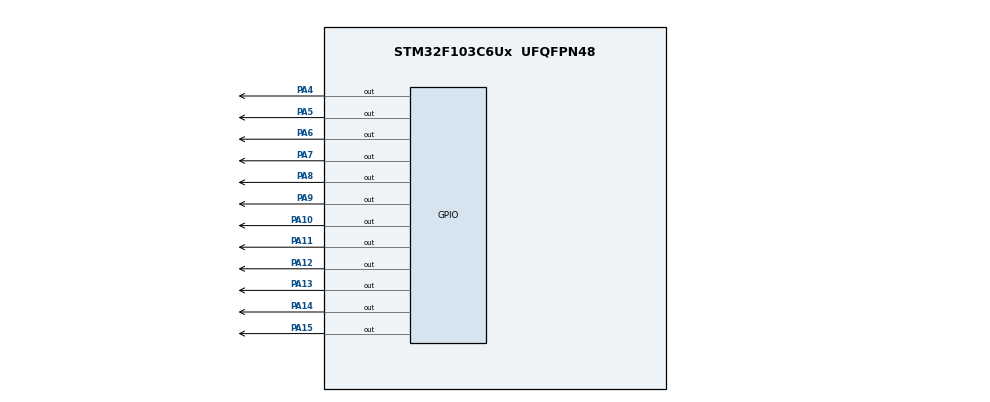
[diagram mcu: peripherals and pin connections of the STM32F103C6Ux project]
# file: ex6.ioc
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Mcu.Family=STM32F1
Mcu.Name=STM32F103C6Ux
Mcu.Package=UFQFPN48
NVIC.PriorityGroup=NVIC_PRIORITYGROUP_4
PA10.Signal=GPIO_Output
PA11.Signal=GPIO_Output
PA12.Signal=GPIO_Output
PA13.Signal=GPIO_Output
PA14.Signal=GPIO_Output
PA15.Signal=GPIO_Output
PA4.Signal=GPIO_Output
PA5.Signal=GPIO_Output
PA6.Signal=GPIO_Output
PA7.Signal=GPIO_Output
PA8.Signal=GPIO_Output
PA9.Signal=GPIO_Output
ProjectManager.HeapSize=0x200
ProjectManager.StackSize=0x400
ProjectManager.TargetToolchain=STM32CubeIDE
RCC.APB1Freq_Value=8000000
RCC.APB2Freq_Value=8000000
VP_SYS_VS_ND.Mode=No_Debug
board=custom

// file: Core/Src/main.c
/* USER CODE BEGIN Header */
/**
  ******************************************************************************
  * @file           : main.c
  * @brief          : Main program body
  ******************************************************************************
  * @attention
  *
  * <h2><center>&copy; Copyright (c) 2022 STMicroelectronics.
  * All rights reserved.</center></h2>
  *
  * This software component is licensed by ST under BSD 3-Clause license,
  * the "License"; You may not use this file except in compliance with the
  * License. You may obtain a copy of the License at:
  *                        opensource.org/licenses/BSD-3-Clause
  *
  ******************************************************************************
  */
/* USER CODE END Header */
#include "main.h"

void SystemClock_Config(void);
static void MX_GPIO_Init(void);

/* USER CODE BEGIN 0 */
void state_led(int arr[12]){
	HAL_GPIO_WritePin(GPIOA, GPIO_PIN_4, arr[0]);
	HAL_GPIO_WritePin(GPIOA, GPIO_PIN_5, arr[1]);
	HAL_GPIO_WritePin(GPIOA, GPIO_PIN_6, arr[2]);
	HAL_GPIO_WritePin(GPIOA, GPIO_PIN_7, arr[3]);
	HAL_GPIO_WritePin(GPIOA, GPIO_PIN_8, arr[4]);
	HAL_GPIO_WritePin(GPIOA, GPIO_PIN_9, arr[5]);
	HAL_GPIO_WritePin(GPIOA, GPIO_PIN_10, arr[6]);
	HAL_GPIO_WritePin(GPIOA, GPIO_PIN_11, arr[7]);
	HAL_GPIO_WritePin(GPIOA, GPIO_PIN_12, arr[8]);
	HAL_GPIO_WritePin(GPIOA, GPIO_PIN_13, arr[9]);
	HAL_GPIO_WritePin(GPIOA, GPIO_PIN_14, arr[10]);
	HAL_GPIO_WritePin(GPIOA, GPIO_PIN_15, arr[11]);
}

/* USER CODE END 0 */

int main(void)
{

  /* MCU Configuration--------------------------------------------------------*/

  /* Reset of all peripherals, Initializes the Flash interface and the Systick. */
  HAL_Init();

  /* Configure the system clock */
  SystemClock_Config();

  /* Initialize all configured peripherals */
  MX_GPIO_Init();

  /* Infinite loop */
  /* USER CODE BEGIN WHILE */
  int arr[12];
  for (int i = 0; i < 12; i++){
	  arr[i] = 1;
  }
  int count = 0;
  while (1)
  {
	  arr[count] = 0;
	  count++;
	  state_led(arr);
	  HAL_Delay(1000);
	  arr[count - 1] = 1;
	  state_led(arr);
	  if (count == 12){
	  	count = 0;
	  }
    /* USER CODE END WHILE */
  }
}

void SystemClock_Config(void)
{
  RCC_OscInitTypeDef RCC_OscInitStruct = {0};
  RCC_ClkInitTypeDef RCC_ClkInitStruct = {0};

  /** Initializes the RCC Oscillators according to the specified parameters
  * in the RCC_OscInitTypeDef structure.
  */
  RCC_OscInitStruct.OscillatorType = RCC_OSCILLATORTYPE_HSI;
  RCC_OscInitStruct.HSIState = RCC_HSI_ON;
  RCC_OscInitStruct.HSICalibrationValue = RCC_HSICALIBRATION_DEFAULT;
  RCC_OscInitStruct.PLL.PLLState = RCC_PLL_NONE;
  if (HAL_RCC_OscConfig(&RCC_OscInitStruct) != HAL_OK)
  {
    Error_Handler();
  }
  /** Initializes the CPU, AHB and APB buses clocks
  */
  RCC_ClkInitStruct.ClockType = RCC_CLOCKTYPE_HCLK|RCC_CLOCKTYPE_SYSCLK
                              |RCC_CLOCKTYPE_PCLK1|RCC_CLOCKTYPE_PCLK2;
  RCC_ClkInitStruct.SYSCLKSource = RCC_SYSCLKSOURCE_HSI;
  RCC_ClkInitStruct.AHBCLKDivider = RCC_SYSCLK_DIV1;
  RCC_ClkInitStruct.APB1CLKDivider = RCC_HCLK_DIV1;
  RCC_ClkInitStruct.APB2CLKDivider = RCC_HCLK_DIV1;

  if (HAL_RCC_ClockConfig(&RCC_ClkInitStruct, FLASH_LATENCY_0) != HAL_OK)
  {
    Error_Handler();
  }
}

static void MX_GPIO_Init(void)
{
  GPIO_InitTypeDef GPIO_InitStruct = {0};

  /* GPIO Ports Clock Enable */
  __HAL_RCC_GPIOA_CLK_ENABLE();

  /*Configure GPIO pin Output Level */
  HAL_GPIO_WritePin(GPIOA, GPIO_PIN_4|GPIO_PIN_5|GPIO_PIN_6|GPIO_PIN_7
                          |GPIO_PIN_8|GPIO_PIN_9|GPIO_PIN_10|GPIO_PIN_11
                          |GPIO_PIN_12|GPIO_PIN_13|GPIO_PIN_14|GPIO_PIN_15, GPIO_PIN_RESET);

  /*Configure GPIO pins : PA4 PA5 PA6 PA7
                           PA8 PA9 PA10 PA11
                           PA12 PA13 PA14 PA15 */
  GPIO_InitStruct.Pin = GPIO_PIN_4|GPIO_PIN_5|GPIO_PIN_6|GPIO_PIN_7
                          |GPIO_PIN_8|GPIO_PIN_9|GPIO_PIN_10|GPIO_PIN_11
                          |GPIO_PIN_12|GPIO_PIN_13|GPIO_PIN_14|GPIO_PIN_15;
  GPIO_InitStruct.Mode = GPIO_MODE_OUTPUT_PP;
  GPIO_InitStruct.Pull = GPIO_NOPULL;
  GPIO_InitStruct.Speed = GPIO_SPEED_FREQ_LOW;
  HAL_GPIO_Init(GPIOA, &GPIO_InitStruct);

}

void Error_Handler(void)
{
  __disable_irq();
  while (1)
  {
  }
}

/************************ (C) COPYRIGHT STMicroelectronics *****END OF FILE****/
